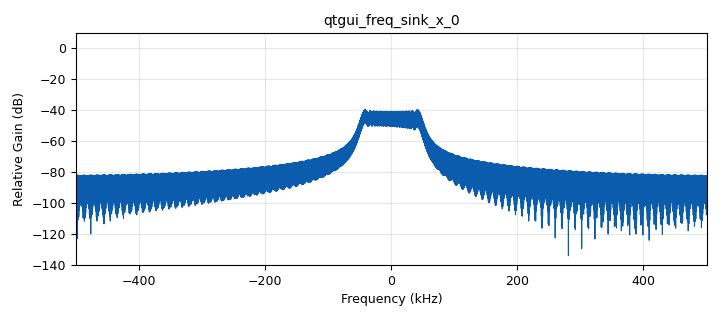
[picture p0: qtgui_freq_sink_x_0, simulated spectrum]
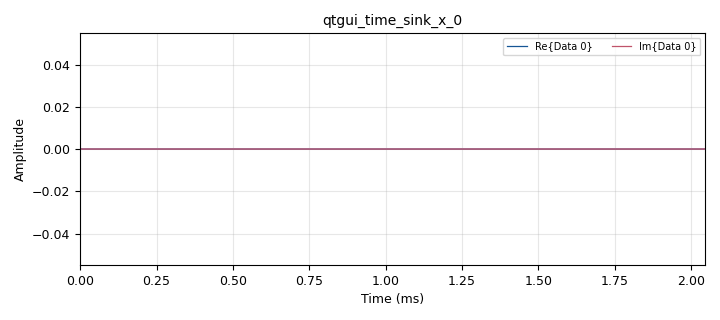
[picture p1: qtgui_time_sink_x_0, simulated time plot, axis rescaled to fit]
<?xml version='1.0' encoding='utf-8'?>
<?grc format='1' created='3.7.13'?>
<flow_graph>
<block>
<key>options</key>
<param><key>id</key><value>usrpdrftransmit</value></param>
<param><key>author</key><value>MIT Haystack</value></param>
<param><key>description</key><value>Transmit a sngle channel from a USRP sink from Digital RF.</value></param>
<param><key>generate_options</key><value>qt_gui</value></param>
<param><key>title</key><value>USRP Transmit</value></param>
</block>
<block>
<key>variable</key>
<param><key>id</key><value>beta</value></param>
<param><key>value</key><value>1e5</value></param>
</block>
<block>
<key>variable</key>
<param><key>id</key><value>fc</value></param>
<param><key>value</key><value>2.414e9</value></param>
</block>
<block>
<key>variable</key>
<param><key>id</key><value>gain</value></param>
<param><key>value</key><value>20</value></param>
</block>
<block>
<key>variable</key>
<param><key>id</key><value>npad</value></param>
<param><key>value</key><value>nperiod-nvec</value></param>
</block>
<block>
<key>variable</key>
<param><key>id</key><value>nperiod</value></param>
<param><key>value</key><value>4096</value></param>
</block>
<block>
<key>variable</key>
<param><key>id</key><value>nvec</value></param>
<param><key>value</key><value>int(1000)</value></param>
</block>
<block>
<key>variable</key>
<param><key>id</key><value>samp_rate</value></param>
<param><key>value</key><value>1e6</value></param>
</block>
<block>
<key>variable</key>
<param><key>id</key><value>tau</value></param>
<param><key>value</key><value>nvec/samp_rate</value></param>
</block>
<block>
<key>blocks_vector_source_x</key>
<param><key>id</key><value>blocks_vector_source_x_0</value></param>
<param><key>type</key><value>complex</value></param>
<param><key>repeat</key><value>True</value></param>
<param><key>vlen</key><value>nvec+npad</value></param>
<param><key>vector</key><value>np.concatenate((np.exp(1j*np.pi*(beta/tau)*np.power(np.arange(-nvec/2,nvec/2)*1./samp_rate,2)),np.zeros(npad)))</value></param>
</block>
<block>
<key>blocks_vector_to_stream</key>
<param><key>id</key><value>blocks_vector_to_stream_0</value></param>
<param><key>type</key><value>complex</value></param>
<param><key>num_items</key><value>nvec+npad</value></param>
</block>
<block>
<key>import</key>
<param><key>id</key><value>import_0</value></param>
<param><key>import</key><value>import numpy as np</value></param>
</block>
<block>
<key>qtgui_freq_sink_x</key>
<param><key>id</key><value>qtgui_freq_sink_x_0</value></param>
<param><key>bw</key><value>samp_rate</value></param>
<param><key>fc</key><value>0</value></param>
<param><key>fftsize</key><value>16383</value></param>
<param><key>grid</key><value>True</value></param>
<param><key>showports</key><value>True</value></param>
<param><key>type</key><value>complex</value></param>
<param><key>wintype</key><value>firdes.WIN_BLACKMAN_hARRIS</value></param>
</block>
<block>
<key>qtgui_time_sink_x</key>
<param><key>id</key><value>qtgui_time_sink_x_0</value></param>
<param><key>color1</key><value>"blue"</value></param>
<param><key>label1</key><value></value></param>
<param><key>color2</key><value>"red"</value></param>
<param><key>label2</key><value></value></param>
<param><key>size</key><value>2048</value></param>
<param><key>srate</key><value>samp_rate</value></param>
<param><key>type</key><value>complex</value></param>
</block>
<connection><source_block_id>blocks_vector_source_x_0</source_block_id><sink_block_id>blocks_vector_to_stream_0</sink_block_id><source_key>0</source_key><sink_key>0</sink_key></connection>
<connection><source_block_id>blocks_vector_to_stream_0</source_block_id><sink_block_id>qtgui_freq_sink_x_0</sink_block_id><source_key>0</source_key><sink_key>0</sink_key></connection>
<connection><source_block_id>blocks_vector_to_stream_0</source_block_id><sink_block_id>qtgui_time_sink_x_0</sink_block_id><source_key>0</source_key><sink_key>0</sink_key></connection>
</flow_graph>
